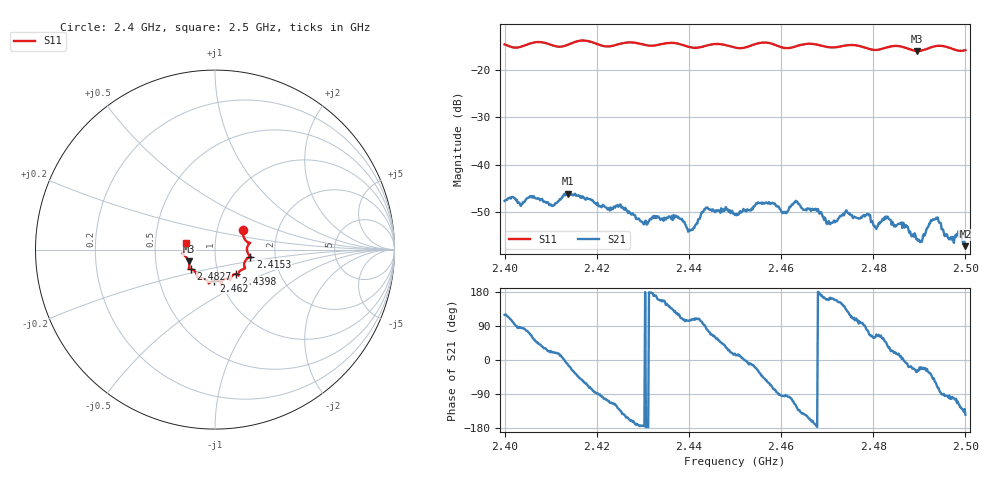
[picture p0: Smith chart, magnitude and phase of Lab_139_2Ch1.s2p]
# Hz S RI R 50
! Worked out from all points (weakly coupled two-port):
!   601 points, 2.4 GHz to 2.5 GHz, reference 50 ohm
!   highest |S21| = -46.15 dB at 2.4137 GHz (marker M1); lowest = -57.3 dB at 2.5 GHz (marker M2)
!   lowest |S11| = -15.9 dB at 2.4895 GHz (marker M3), VSWR 1.38, Z = 37 - j5.01 ohm
!   |S11| at or under -10 dB: start of sweep to end of sweep
!   S12 and S22 are empty: the file has one direction only
!   S11 on the Smith chart (normalised r, x): 2.4 GHz: 1.33, +0.30; 2.4153 GHz: 1.48, -0.12; 2.4398 GHz: 1.21, -0.34; 2.462 GHz: 0.93, -0.33; 2.4827 GHz: 0.75, -0.17; 2.5 GHz: 0.72, +0.06
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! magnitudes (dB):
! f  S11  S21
! 2.4 GHz  -14.5  -47.7
! 2.4103 GHz  -14.7  -48.8
! 2.4137 GHz  -14.6  -46.1
! 2.4153 GHz  -14.0  -46.2
! 2.4167 GHz  -13.7  -46.8
! 2.4298 GHz  -14.4  -52.2
! 2.4333 GHz  -14.6  -51.0
! 2.4375 GHz  -14.3  -51.2
! 2.4398 GHz  -15.0  -54.2
! 2.4438 GHz  -14.7  -49.2
! 2.45 GHz  -15.2  -50.7
! 2.4552 GHz  -14.2  -48.1
! 2.462 GHz  -15.2  -49.0
! 2.4667 GHz  -14.4  -49.5
! 2.4703 GHz  -15.1  -52.0
! 2.4743 GHz  -14.7  -50.1
! 2.4805 GHz  -15.7  -53.4
! 2.4827 GHz  -15.2  -51.5
! 2.4833 GHz  -15.0  -51.5
! 2.4895 GHz  -15.9  -55.8
! 2.4935 GHz  -14.9  -51.6
! 2.5 GHz  -15.7  -57.3
